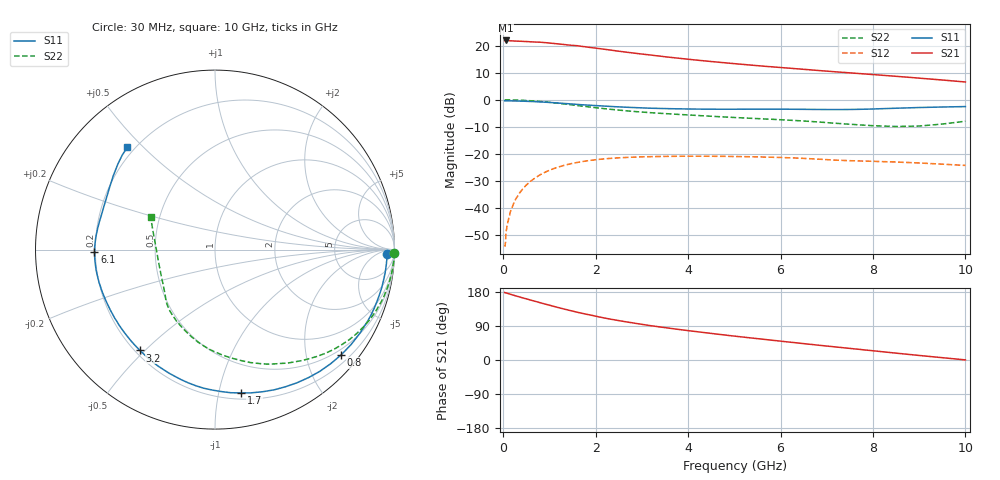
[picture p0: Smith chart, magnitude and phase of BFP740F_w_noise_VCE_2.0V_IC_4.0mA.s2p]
! Infineon Technologies  Discrete & RF Semiconductors
! BFP740F
! VCE =  2.0 V,  IC =  4.0 mA
! Common Emitter S-Parameters:  Oct 2012
# GHz  S  MA  R  50
!  f  S11  S21  S12  S22
! GHz  MAG  ANG  MAG  ANG  MAG  ANG  MAG  ANG
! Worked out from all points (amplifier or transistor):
!   99 points, 30 MHz to 10 GHz, reference 50 ohm
!   highest |S21| = 21.9 dB at 50 MHz (marker M1)
!   |S21| within 3 dB of that: start of sweep to 2.078 GHz
!   unconditionally stable (mu >= 1): 7.99 GHz to end of sweep
!   at 350 MHz: K = 0.03, MSG = 28.0 dB, |S12| = -34.5 dB
!   at 3.5 GHz: K = 0.30, MSG = 18.4 dB, |S12| = -20.9 dB
!   at 10 GHz: K = 1.26, MAG = 12.3 dB, |S12| = -24.2 dB
!   lowest NFmin = 0.36 dB at 450 MHz
!   S11 on the Smith chart (normalised r, x): 30 MHz: 35, -22; 800 MHz: 0.37, -2.71; 1.7 GHz: 0.25, -1.17; 3.2 GHz: 0.22, -0.48; 6.1 GHz: 0.20, -0.01; 10 GHz: 0.17, +0.45
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0.03  0.9595 -1.5  12.3 178.1  0.0021 81.1  0.9991 -1.0
0.05  0.9579 -2.5  12.44 177.5  0.0024 96.1  0.9977 -1.8
0.06  0.9585 -3.1  12.4 177.2  0.0036 95.3  0.9996 -2.1
0.1  0.9579 -5.2  12.4 175.6  0.0056 86.5  0.9979 -3.6
0.25  0.9531 -12.7  12.13 170.0  0.0138 81.6  0.9906 -8.8
0.5  0.9393 -25.1  11.89 161.4  0.0268 74.8  0.9708 -17.4
0.8  0.9153 -39.9  11.55 151.2  0.0415 65.2  0.9331 -27.4
1  0.895 -49.3  11.15 144.6  0.0503 59.2  0.9001 -34.0
1.2  0.8713 -58.4  10.72 138.1  0.0578 53.3  0.8627 -40.3
1.6  0.8228 -76.0  9.961 126.1  0.0699 43.0  0.7856 -51.9
1.7  0.8113 -79.7  9.677 123.3  0.0724 40.7  0.7664 -54.7
2.1  0.7748 -94.7  8.759 113.0  0.0802 31.9  0.7005 -65.6
2.4  0.7489 -104.5  8.094 106.1  0.0841 26.3  0.6595 -72.6
2.7  0.7276 -113.2  7.499 99.9  0.0869 21.5  0.6232 -78.9
3.2  0.6998 -126.6  6.691 90.4  0.0896 14.5  0.5784 -88.1
3.4  0.6931 -131.2  6.385 87.0  0.0902 11.9  0.5638 -91.4
4.2  0.6744 -147.8  5.388 74.6  0.0912 3.3  0.5144 -102.4
5.1  0.6716 -164.0  4.564 61.7  0.0899 -4.8  0.4678 -113.8
6.1  0.6715 -179.0  3.883 48.4  0.0859 -12.9  0.425 -126.1
6.7  0.665 171.5  3.537 40.7  0.0815 -17.0  0.3964 -133.2
8.5  0.7001 144.1  2.715 18.1  0.0713 -22.7  0.3222 -167.1
10  0.7508 130.7  2.134 0.3  0.0617 -26.3  0.403 153.0
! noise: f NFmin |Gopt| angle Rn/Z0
0.45  0.36  0.43  8  0.21
0.9  0.42  0.43  14  0.18
1.5  0.5  0.42  25  0.15
1.9  0.56  0.41  34  0.14
2.4  0.63  0.38  43  0.14
3.5  0.79  0.35  66  0.13
5.5  1.07  0.25  111  0.22
10  1.64  0.44  -130  0.08
